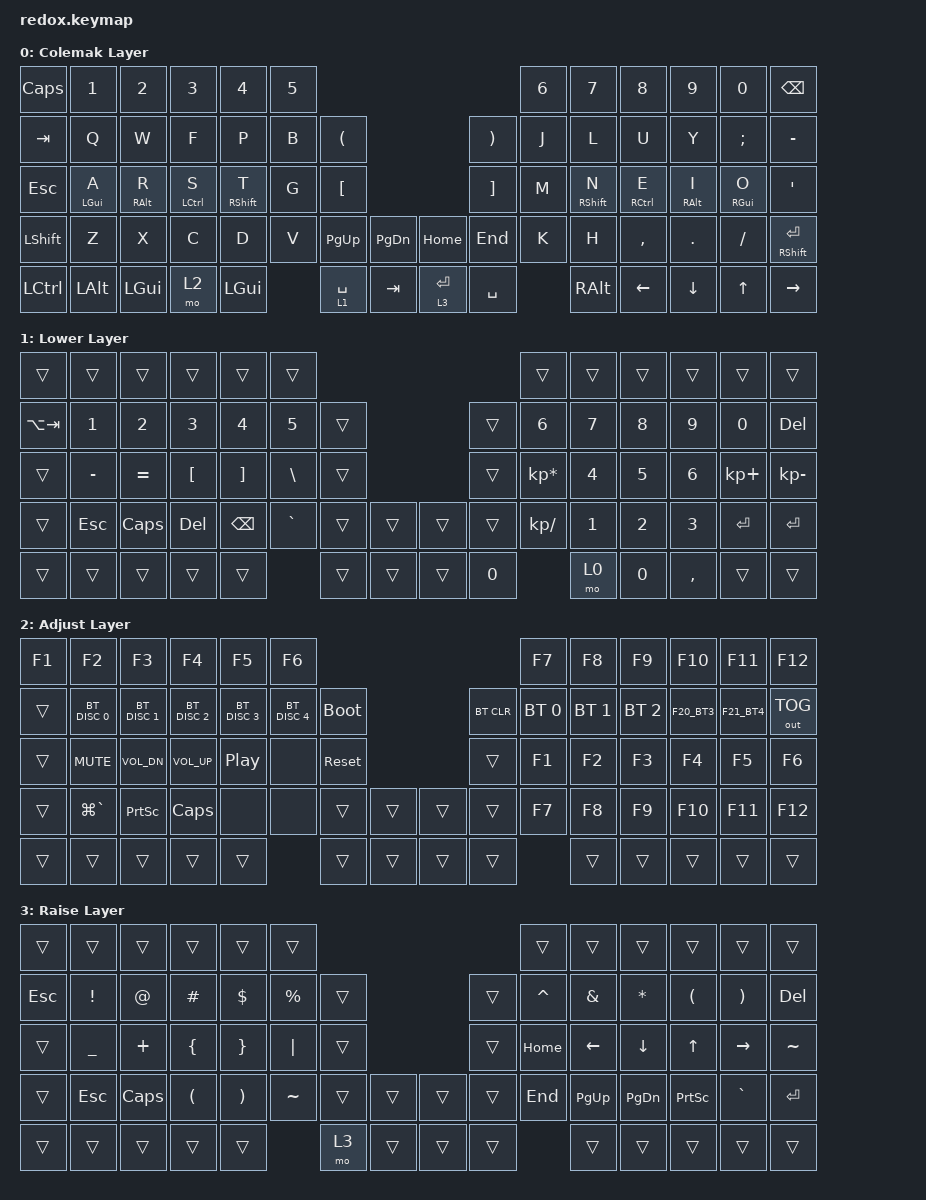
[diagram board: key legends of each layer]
/*
 * Copyright (c) 2021 The ZMK Contributors
 *
 * SPDX-License-Identifier: MIT
 */

#include <behaviors.dtsi>
#include <dt-bindings/zmk/bt.h>
#include <dt-bindings/zmk/keys.h>
#include <dt-bindings/zmk/outputs.h>

/ {
    combos { compatible = "zmk,combos"; };

    behaviors {
        spc_lower: spc_lower {
            compatible = "zmk,behavior-hold-tap";
            label = "SPC_LOWER";
            #binding-cells = <2>;
            bindings = <&mo>, <&kp>;

            tapping-term-ms = <200>;
            flavor = "hold-preferred";
            hold-while-undecided;
        };

        hrm: hrm {
            compatible = "zmk,behavior-hold-tap";
            label = "HRM";
            #binding-cells = <2>;
            bindings = <&kp>, <&kp>;

            tapping-term-ms = <150>;
            flavor = "balanced";
            hold-while-undecided;
        };

        hrm_left: hrm_left {
            compatible = "zmk,behavior-hold-tap";
            label = "HRM_LEFT";
            #binding-cells = <2>;
            bindings = <&kp>, <&kp>;

            tapping-term-ms = <150>;
            flavor = "hold-preferred";
            hold-while-undecided;
            hold-trigger-key-positions = <6 7 8 9 10 11 19 20 21 22 23 24 25 33 34 35 36 37 38 39 48 49 50 51 52 53 54 55 63 64 65 66 67 68 69 60 61 62 47 46>;
            hold-trigger-on-release;
        };

        hrm_right: hrm_right {
            compatible = "zmk,behavior-hold-tap";
            label = "HRM_RIGHT";
            #binding-cells = <2>;
            bindings = <&kp>, <&kp>;

            tapping-term-ms = <150>;
            flavor = "hold-preferred";
            hold-while-undecided;
            hold-trigger-key-positions = <0 1 2 3 4 5 12 13 14 15 16 17 18 26 27 28 29 30 31 32 40 41 42 43 44 45 46 47 56 57 58 59 60 61 62 48 49 63 64 65>;
            hold-trigger-on-release;
        };
    };

    macros {
        F20_BT3: BT4_F20 {
            compatible = "zmk,behavior-macro";
            #binding-cells = <0>;
            bindings = <&kp F20 &bt BT_SEL 3>;
            label = "BT4_F20";
        };

        F21_BT4: F21_BT4 {
            compatible = "zmk,behavior-macro";
            #binding-cells = <0>;
            bindings = <&kp F21 &bt BT_SEL 4>;
            label = "F21_BT4";
        };
    };

    keymap {
        compatible = "zmk,keymap";

        colemak_layer {
            display-name = "Colemak Layer";
            bindings = <
&kp CAPSLOCK  &kp N1           &kp N2       &kp N3        &kp N4        &kp N5                                                                  &kp N6  &kp N7         &kp N8        &kp N9       &kp N0         &kp BSPC
&kp TAB       &kp Q            &kp W        &kp F         &kp P         &kp B   &kp LPAR                                             &kp RPAR   &kp J   &kp L          &kp U         &kp Y        &kp SEMICOLON  &kp MINUS
&kp ESCAPE    &hrm LEFT_GUI A  &hrm RALT R  &hrm LCTRL S  &hrm RSHFT T  &kp G   &kp LBKT                                             &kp RBKT   &kp M   &hrm RSHFT N   &hrm RCTRL E  &hrm RALT I  &hrm RGUI O    &kp SQT
&kp LSHFT     &kp Z            &kp X        &kp C         &kp D         &kp V   &kp PG_UP           &kp PG_DN    &kp HOME            &kp END    &kp K   &kp H          &kp COMMA     &kp DOT      &kp FSLH       &mt RSHFT RET
&kp LCTRL     &kp LALT         &kp LGUI     &mo 2         &kp LGUI              &spc_lower 1 SPACE  &kp TAB      &spc_lower 3 ENTER  &kp SPACE          &kp RIGHT_ALT  &kp LEFT      &kp DOWN     &kp UP         &kp RIGHT
            >;
        };

        lower_layer {
            display-name = "Lower Layer";

            // --------------------------------------------------------------------------------------------------------------------------
            // | ESC   |  1  |  2  |   3   |   4   |  5  |                   ---              |  6  |  7  |   8  |  9   |  0  |  DEL  |
            // | ESC   |  1  |  2  |   3   |   4   |  5  |   (   |           ---        |  )  |  6  |  7  |   8  |  9   |  0  |  DEL  |
            // | CTRL  |  -  |  =  |   [   |   ]   |  \  |   [   |           ---        |  ]  |  *  |  4  |   5  |  6   |  +  |   -   |
            // | SHIFT | ESC | GUI | COPY  | PASTE |     | PG_UP | PG_DOWN | --- | HOME | END |  \  |  1  |   2  |  3   | RET |  RET  |
            // | CRTL  | ALT | GUI | LOWER |     GUI     | LOWER | SPACE   | --- | DEL  |  0  |    RAISE  | LEFT | DOWN | UP  | RIGHT |

            bindings = <
&trans       &trans     &trans     &trans      &trans         &trans                                       &trans           &trans  &trans  &trans     &trans       &trans
&kp LA(TAB)  &kp N1     &kp N2     &kp N3      &kp N4         &kp N5     &trans                    &trans  &kp N6           &kp N7  &kp N8  &kp N9     &kp N0       &kp DEL
&trans       &kp MINUS  &kp EQUAL  &kp LBKT    &kp RBKT       &kp BSLH   &trans                    &trans  &kp KP_MULTIPLY  &kp N4  &kp N5  &kp N6     &kp KP_PLUS  &kp KP_MINUS
&trans       &kp ESC    &kp CAPS   &kp DELETE  &kp BACKSPACE  &kp GRAVE  &trans  &trans    &trans  &trans  &kp KP_DIVIDE    &kp N1  &kp N2  &kp N3     &kp RET      &kp RET
&trans       &trans     &trans     &trans      &trans                    &trans  &trans    &trans  &kp N0                   &mo 0   &kp N0  &kp COMMA  &trans       &trans
            >;
        };

        adjust_layer {
            display-name = "Adjust Layer";

            // -----------------------------------------------------------------------------------------
            // |  F1   |  F2   |    F3    |    F4     |     F5     | F6 |                   ---                | F7  | F8  |  F9  |  F10 | F11 | F12        |
            // | TAB   |       |          |           |            |    | BOOTL |           ---        |  )    | BT1 | BT2 |  BT3 |  BT4 | BT5 | OUTPUT TGL |
            // | CTRL  | MUTE  |  Vol Dn  |  Vol Up   | Play/Pause |    | RESET |           ---        |  ]    | F1  | F2  |  F3  |  F4  | F5  | F6         |
            // | SHIFT | PSCRN |  PSCRN   |   CAPS    |            |    | PG_UP | PG_DOWN | --- | HOME | END   | F7  | F8  |  F9  |  F10 | F11 | F12        |
            // | CRTL  | ALT   |  GUI     |   LOWER   |      GUI        | LOWER | SPACE   | --- | DEL  | SPACE |   RAISE   | LEFT | DOWN | UP  |   RIGHT    |

            bindings = <
&kp F1  &kp F2         &kp F3         &kp F4         &kp F5            &kp F6                                                    &kp F7        &kp F8        &kp F9        &kp F10   &kp F11   &kp F12
&trans  &bt BT_DISC 0  &bt BT_DISC 1  &bt BT_DISC 2  &bt BT_DISC 3     &bt BT_DISC 4  &bootloader                    &bt BT_CLR  &bt BT_SEL 0  &bt BT_SEL 1  &bt BT_SEL 2  &F20_BT3  &F21_BT4  &out OUT_TOG
&trans  &kp K_MUTE     &kp C_VOL_DN   &kp C_VOL_UP   &kp C_PLAY_PAUSE  &none          &sys_reset                     &trans      &kp F1        &kp F2        &kp F3        &kp F4    &kp F5    &kp F6
&trans  &kp LG(GRAVE)  &kp PSCRN      &kp CLCK       &none             &none          &trans       &trans    &trans  &trans      &kp F7        &kp F8        &kp F9        &kp F10   &kp F11   &kp F12
&trans  &trans         &trans         &trans         &trans                           &trans       &trans    &trans  &trans                    &trans        &trans        &trans    &trans    &trans
            >;
        };

        raise_c_layer {
            display-name = "Raise Layer";
            bindings = <
&trans   &trans     &trans    &trans    &trans    &trans                                       &trans     &trans     &trans     &trans        &trans     &trans
&kp ESC  &kp EXCL   &kp AT    &kp HASH  &kp DLLR  &kp PRCNT  &trans                    &trans  &kp CARET  &kp AMPS   &kp ASTRK  &kp LPAR      &kp RPAR   &kp DEL
&trans   &kp UNDER  &kp PLUS  &kp LBRC  &kp RBRC  &kp PIPE   &trans                    &trans  &kp HOME   &kp LEFT   &kp DOWN   &kp UP_ARROW  &kp RIGHT  &kp TILDE
&trans   &kp ESC    &kp CAPS  &kp LPAR  &kp RPAR  &kp TILDE  &trans  &trans    &trans  &trans  &kp END    &kp PG_UP  &kp PG_DN  &kp PSCRN     &kp GRAVE  &kp RET
&trans   &trans     &trans    &trans    &trans               &mo 3   &trans    &trans  &trans             &trans     &trans     &trans        &trans     &trans
            >;
        };
    };
};
